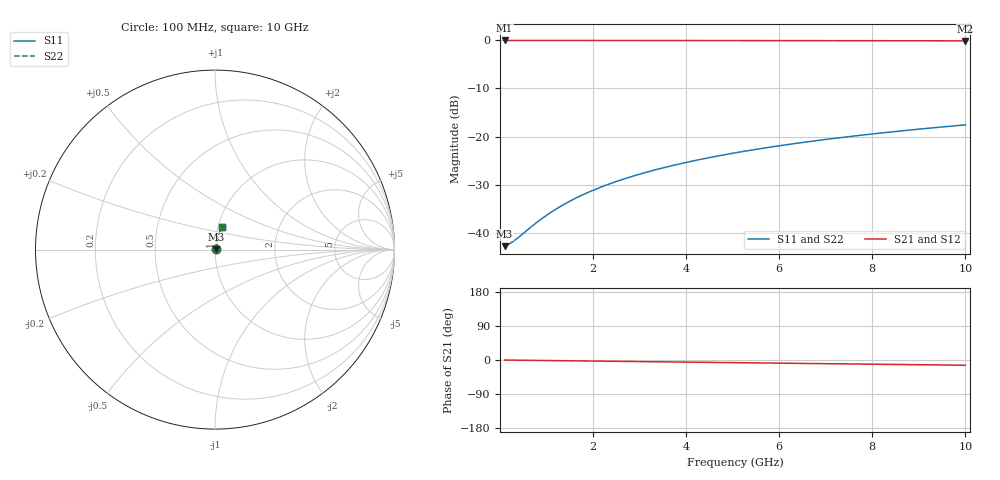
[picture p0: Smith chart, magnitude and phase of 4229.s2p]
# Hz S RI R 50.00
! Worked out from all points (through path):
!   100 points, 100 MHz to 10 GHz, reference 50 ohm
!   highest |S21| = -0.06 dB at 100 MHz (marker M1); lowest = -0.1 dB at 10 GHz (marker M2)
!   group delay of S21, straight-line fit = 3.84 ps
!   lowest |S11| = -42.6 dB at 100 MHz (marker M3), VSWR 1.01, Z = 50.7 + j0.135 ohm
!   |S11| at or under -10 dB: start of sweep to end of sweep
!   |S22| runs from -42.6 to -17.5 dB; largest |S21 - S12| = 0
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1e8  0.00727 0.00133  0.9927 -0.00241  0.9927 -0.00241  0.00727 0.00133
2e8  0.00733 0.00266  0.9927 -0.00481  0.9927 -0.00481  0.00733 0.00266
3e8  0.00738 0.00399  0.9926 -0.00722  0.9926 -0.00722  0.00738 0.00399
8e8  0.00767 0.0106  0.9923 -0.0192  0.9923 -0.0192  0.00767 0.0106
9e8  0.00774 0.012  0.9922 -0.0216  0.9922 -0.0216  0.00774 0.012
1.1e9  0.00789 0.0146  0.992 -0.0265  0.992 -0.0265  0.00789 0.0146
1.4e9  0.00817 0.0186  0.9917 -0.0337  0.9917 -0.0337  0.00817 0.0186
1.6e9  0.00839 0.0212  0.9914 -0.0385  0.9914 -0.0385  0.00839 0.0212
1.8e9  0.00863 0.0239  0.9912 -0.0433  0.9912 -0.0433  0.00863 0.0239
2.1e9  0.00903 0.0278  0.9907 -0.0505  0.9907 -0.0505  0.00903 0.0278
2.5e9  0.00966 0.0331  0.99 -0.06  0.99 -0.06  0.00966 0.0331
2.9e9  0.0104 0.0384  0.9891 -0.0696  0.9891 -0.0696  0.0104 0.0384
3.4e9  0.0114 0.0449  0.9879 -0.0815  0.9879 -0.0815  0.0114 0.0449
3.8e9  0.0124 0.0501  0.9867 -0.0911  0.9867 -0.0911  0.0124 0.0501
4.2e9  0.0134 0.0553  0.9855 -0.1006  0.9855 -0.1006  0.0134 0.0553
4.6e9  0.0146 0.0605  0.9841 -0.1101  0.9841 -0.1101  0.0146 0.0605
5.1e9  0.0161 0.0669  0.9823 -0.1219  0.9823 -0.1219  0.0161 0.0669
5.9e9  0.019 0.0771  0.9789 -0.1407  0.9789 -0.1407  0.019 0.0771
6.7e9  0.0222 0.0872  0.9751 -0.1594  0.9751 -0.1594  0.0222 0.0872
7.5e9  0.0258 0.0971  0.9708 -0.1779  0.9708 -0.1779  0.0258 0.0971
8.4e9  0.0303 0.108  0.9655 -0.1986  0.9655 -0.1986  0.0303 0.108
1e10  0.0394 0.1269  0.9547 -0.2348  0.9547 -0.2348  0.0394 0.1269
